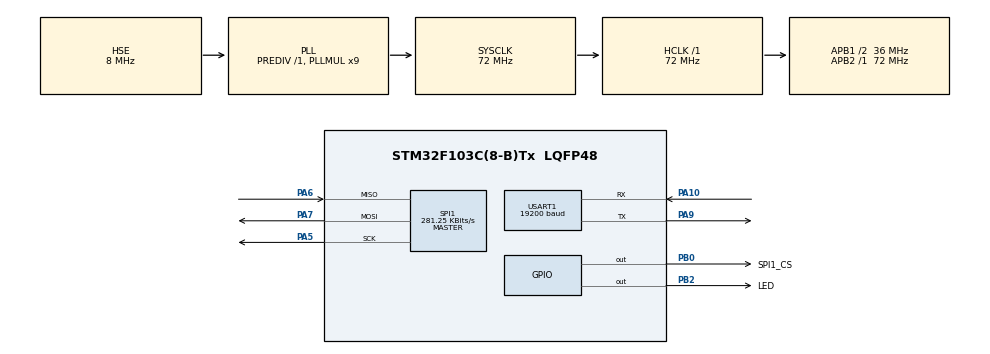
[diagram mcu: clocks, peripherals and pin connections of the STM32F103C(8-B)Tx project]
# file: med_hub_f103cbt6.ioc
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Mcu.Family=STM32F1
Mcu.Name=STM32F103C(8-B)Tx
Mcu.Package=LQFP48
NVIC.PriorityGroup=NVIC_PRIORITYGROUP_4
NVIC.SPI1_IRQn=true\:0\:0\:false\:false\:true\:true\:true\:true
NVIC.USART1_IRQn=true\:0\:0\:false\:false\:true\:true\:true\:true
PA10.Mode=Asynchronous
PA10.Signal=USART1_RX
PA13.Mode=Serial_Wire
PA13.Signal=SYS_JTMS-SWDIO
PA14.Mode=Serial_Wire
PA14.Signal=SYS_JTCK-SWCLK
PA5.Mode=Full_Duplex_Master
PA5.Signal=SPI1_SCK
PA6.Mode=Full_Duplex_Master
PA6.Signal=SPI1_MISO
PA7.Mode=Full_Duplex_Master
PA7.Signal=SPI1_MOSI
PA9.Mode=Asynchronous
PA9.Signal=USART1_TX
PB0.GPIO_Label=SPI1_CS
PB0.GPIO_Speed=GPIO_SPEED_FREQ_HIGH
PB0.PinState=GPIO_PIN_SET
PB0.Signal=GPIO_Output
PB2.GPIO_Label=LED
PB2.Signal=GPIO_Output
PD0-OSC_IN.Mode=HSE-External-Oscillator
PD0-OSC_IN.Signal=RCC_OSC_IN
PD1-OSC_OUT.Mode=HSE-External-Oscillator
PD1-OSC_OUT.Signal=RCC_OSC_OUT
ProjectManager.HeapSize=0x200
ProjectManager.StackSize=0x400
ProjectManager.TargetToolchain=STM32CubeIDE
RCC.AHBFreq_Value=72000000
RCC.APB1CLKDivider=RCC_HCLK_DIV2
RCC.APB1Freq_Value=36000000
RCC.APB1TimFreq_Value=72000000
RCC.APB2Freq_Value=72000000
RCC.APB2TimFreq_Value=72000000
RCC.HCLKFreq_Value=72000000
RCC.PLLMUL=RCC_PLL_MUL9
RCC.PLLSourceVirtual=RCC_PLLSOURCE_HSE
RCC.SYSCLKFreq_VALUE=72000000
RCC.SYSCLKSource=RCC_SYSCLKSOURCE_PLLCLK
RCC.USBFreq_Value=72000000
SPI1.BaudRatePrescaler=SPI_BAUDRATEPRESCALER_256
SPI1.CalculateBaudRate=281.25 KBits/s
SPI1.Direction=SPI_DIRECTION_2LINES
SPI1.Mode=SPI_MODE_MASTER
SPI1.VirtualType=VM_MASTER
USART1.BaudRate=19200
USART1.Parity=PARITY_NONE
USART1.VirtualMode=VM_ASYNC
board=custom

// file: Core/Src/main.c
/* USER CODE BEGIN Header */
/**
  ******************************************************************************
  * @file           : main.c
  * @brief          : Main program body
  ******************************************************************************
  * @attention
  *
  * Copyright (c) 2026 STMicroelectronics.
  * All rights reserved.
  *
  * This software is licensed under terms that can be found in the LICENSE file
  * in the root directory of this software component.
  * If no LICENSE file comes with this software, it is provided AS-IS.
  *
  ******************************************************************************
  */
/* USER CODE END Header */
#include "main.h"

/* USER CODE BEGIN Includes */
#include "stdbool.h"
#include "string.h"
/* USER CODE END Includes */

/* USER CODE BEGIN PD */
#define cs_set() HAL_GPIO_WritePin(GPIOB,GPIO_PIN_0,GPIO_PIN_RESET)
#define cs_reset() HAL_GPIO_WritePin(GPIOB,GPIO_PIN_0,GPIO_PIN_SET)
#define FRAME_LEN 264
/* USER CODE END PD */

SPI_HandleTypeDef hspi1;

UART_HandleTypeDef huart1;

/* USER CODE BEGIN PV */
bool uart1_rx_complete, spi_transaction_complete = false;
uint8_t uart1_rx_buf[1], data = {0};
uint8_t request_buf[264] = {0x1};
//uint8_t request[2] = {0xC,0xD};
//uint8_t response[2] = {0};
uint8_t response_buf[264] = {};
/* USER CODE END PV */

void SystemClock_Config(void);
static void MX_GPIO_Init(void);
static void MX_SPI1_Init(void);
static void MX_USART1_UART_Init(void);
/* USER CODE BEGIN PFP */
void SPI_SendReceive();
void fillRequestFrame(uint8_t command_code);
uint32_t calculateCRC32(uint8_t* arg,uint16_t length);
/* USER CODE END PFP */

/* USER CODE BEGIN 0 */

const uint32_t crc32_table[256] = {
    0x00000000, 0x77073096, 0xEE0E612C, 0x990951BA, 0x076DC419, 0x706AF48F,
    0xE963A535, 0x9E6495A3, 0x0EDB8832, 0x79DCB8A4, 0xE0D5E91E, 0x97D2D988,
    0x09B64C2B, 0x7EB17CBD, 0xE7B82D07, 0x90BF1D91, 0x1DB71064, 0x6AB020F2,
    0xF3B97148, 0x84BE41DE, 0x1ADAD47D, 0x6DDDE4EB, 0xF4D4B551, 0x83D385C7,
    0x136C9856, 0x646BA8C0, 0xFD62F97A, 0x8A65C9EC, 0x14015C4F, 0x63066CD9,
    0xFA0F3D63, 0x8D080DF5, 0x3B6E20C8, 0x4C69105E, 0xD56041E4, 0xA2677172,
    0x3C03E4D1, 0x4B04D447, 0xD20D85FD, 0xA50AB56B, 0x35B5A8FA, 0x42B2986C,
    0xDBBBC9D6, 0xACBCF940, 0x32D86CE3, 0x45DF5C75, 0xDCD60DCF, 0xABD13D59,
    0x26D930AC, 0x51DE003A, 0xC8D75180, 0xBFD06116, 0x21B4F4B5, 0x56B3C423,
    0xCFBA9599, 0xB8BDA50F, 0x2802B89E, 0x5F058808, 0xC60CD9B2, 0xB10BE924,
    0x2F6F7C87, 0x58684C11, 0xC1611DAB, 0xB6662D3D, 0x76DC4190, 0x01DB7106,
    0x98D220BC, 0xEFD5102A, 0x71B18589, 0x06B6B51F, 0x9FBFE4A5, 0xE8B8D433,
    0x7807C9A2, 0x0F00F934, 0x9609A88E, 0xE10E9818, 0x7F6A0DBB, 0x086D3D2D,
    0x91646C97, 0xE6635C01, 0x6B6B51F4, 0x1C6C6162, 0x856530D8, 0xF262004E,
    0x6C0695ED, 0x1B01A57B, 0x8208F4C1, 0xF50FC457, 0x65B0D9C6, 0x12B7E950,
    0x8BBEB8EA, 0xFCB9887C, 0x62DD1DDF, 0x15DA2D49, 0x8CD37CF3, 0xFBD44C65,
    0x4DB26158, 0x3AB551CE, 0xA3BC0074, 0xD4BB30E2, 0x4ADFA541, 0x3DD895D7,
    0xA4D1C46D, 0xD3D6F4FB, 0x4369E96A, 0x346ED9FC, 0xAD678846, 0xDA60B8D0,
    0x44042D73, 0x33031DE5, 0xAA0A4C5F, 0xDD0D7CC9, 0x5005713C, 0x270241AA,
    0xBE0B1010, 0xC90C2086, 0x5768B525, 0x206F85B3, 0xB966D409, 0xCE61E49F,
    0x5EDEF90E, 0x29D9C998, 0xB0D09822, 0xC7D7A8B4, 0x59B33D17, 0x2EB40D81,
    0xB7BD5C3B, 0xC0BA6CAD, 0xEDB88320, 0x9ABFB3B6, 0x03B6E20C, 0x74B1D29A,
    0xEAD54739, 0x9DD277AF, 0x04DB2615, 0x73DC1683, 0xE3630B12, 0x94643B84,
    0x0D6D6A3E, 0x7A6A5AA8, 0xE40ECF0B, 0x9309FF9D, 0x0A00AE27, 0x7D079EB1,
    0xF00F9344, 0x8708A3D2, 0x1E01F268, 0x6906C2FE, 0xF762575D, 0x806567CB,
    0x196C3671, 0x6E6B06E7, 0xFED41B76, 0x89D32BE0, 0x10DA7A5A, 0x67DD4ACC,
    0xF9B9DF6F, 0x8EBEEFF9, 0x17B7BE43, 0x60B08ED5, 0xD6D6A3E8, 0xA1D1937E,
    0x38D8C2C4, 0x4FDFF252, 0xD1BB67F1, 0xA6BC5767, 0x3FB506DD, 0x48B2364B,
    0xD80D2BDA, 0xAF0A1B4C, 0x36034AF6, 0x41047A60, 0xDF60EFC3, 0xA867DF55,
    0x316E8EEF, 0x4669BE79, 0xCB61B38C, 0xBC66831A, 0x256FD2A0, 0x5268E236,
    0xCC0C7795, 0xBB0B4703, 0x220216B9, 0x5505262F, 0xC5BA3BBE, 0xB2BD0B28,
    0x2BB45A92, 0x5CB36A04, 0xC2D7FFA7, 0xB5D0CF31, 0x2CD99E8B, 0x5BDEAE1D,
    0x9B64C2B0, 0xEC63F226, 0x756AA39C, 0x026D930A, 0x9C0906A9, 0xEB0E363F,
    0x72076785, 0x05005713, 0x95BF4A82, 0xE2B87A14, 0x7BB12BAE, 0x0CB61B38,
    0x92D28E9B, 0xE5D5BE0D, 0x7CDCEFB7, 0x0BDBDF21, 0x86D3D2D4, 0xF1D4E242,
    0x68DDB3F8, 0x1FDA836E, 0x81BE16CD, 0xF6B9265B, 0x6FB077E1, 0x18B74777,
    0x88085AE6, 0xFF0F6A70, 0x66063BCA, 0x11010B5C, 0x8F659EFF, 0xF862AE69,
    0x616BFFD3, 0x166CCF45, 0xA00AE278, 0xD70DD2EE, 0x4E048354, 0x3903B3C2,
    0xA7672661, 0xD06016F7, 0x4969474D, 0x3E6E77DB, 0xAED16A4A, 0xD9D65ADC,
    0x40DF0B66, 0x37D83BF0, 0xA9BCAE53, 0xDEBB9EC5, 0x47B2CF7F, 0x30B5FFE9,
    0xBDBDF21C, 0xCABAC28A, 0x53B39330, 0x24B4A3A6, 0xBAD03605, 0xCDD70693,
    0x54DE5729, 0x23D967BF, 0xB3667A2E, 0xC4614AB8, 0x5D681B02, 0x2A6F2B94,
    0xB40BBE37, 0xC30C8EA1, 0x5A05DF1B, 0x2D02EF8D
};

uint32_t calculateCRC32(uint8_t* arg,uint16_t length) {
  uint32_t crc_f = 0xFFFFFFFF; 	// Начальное значение CRC
    for (int i=0;i<length;i++)
    {crc_f=crc32_table[(crc_f ^ arg[i]) & 0xFF] ^ (crc_f >> 8);}
  return ~crc_f;
}

void fillRequestFrame(uint8_t command_code) {
	// формирование ответа
		memset(request_buf,0,FRAME_LEN);
		request_buf[0] = 0xFA;
		request_buf[1] = 0xAF;
		request_buf[2] = command_code;

		request_buf[258] = 0xFF;
		request_buf[259] = 0x0D;

		uint32_t crc = calculateCRC32(request_buf,FRAME_LEN-4);
		request_buf[260] = (crc >> 24) & 0xFF;
		request_buf[261] = (crc >> 16) & 0xFF;
		request_buf[262] = (crc >> 8) & 0xFF;
		request_buf[263] = crc & 0xFF;
}

void parserPC() {
	switch(uart1_rx_buf[0]) {
	case 0xA1:
		fillRequestFrame(0xA1);
		SPI_SendReceive();
		break;
	case 0xA2:
		fillRequestFrame(0xA2);
		SPI_SendReceive();
		break;
	case 0xA3:
		fillRequestFrame(0xA3);
		SPI_SendReceive();
		break;
	case 0xA4:
		fillRequestFrame(0xA4);
		SPI_SendReceive();
		break;
	case 0xA7:
		fillRequestFrame(0xA7);
		SPI_SendReceive();
		break;
	case 0xFF:
		fillRequestFrame(0xFF);
		SPI_SendReceive();
		break;
	}
}

void SPI_SendReceive()
{
    // Очистка RX буфера
    memset(response_buf, 0, 264);
    //memset(request_buf, 0, 10);
    cs_set();

    //HAL_SPI_TransmitReceive(&hspi1, request_buf, response_buf,264,2000);
    //cs_reset();

    //HAL_SPI_TransmitReceive(&hspi2, request_buf, response_buf,10,500);
    HAL_SPI_TransmitReceive_IT(&hspi1, request_buf, response_buf, 264);

}

void HAL_SPI_TxRxCpltCallback(SPI_HandleTypeDef *hspi)
{
    if (hspi->Instance == SPI1)
    {
        //HAL_SPI_TransmitReceive_IT(&hspi1, request_buf, response_buf, FRAME_LEN);
    	spi_transaction_complete = true;
        cs_reset();
    }
}

/* USER CODE END 0 */

int main(void)
{

  /* MCU Configuration--------------------------------------------------------*/

  /* Reset of all peripherals, Initializes the Flash interface and the Systick. */
  HAL_Init();

  /* Configure the system clock */
  SystemClock_Config();

  /* Initialize all configured peripherals */
  MX_GPIO_Init();
  MX_SPI1_Init();
  MX_USART1_UART_Init();
  /* USER CODE BEGIN 2 */

  HAL_UART_Receive_IT(&huart1, uart1_rx_buf, 1);

  /* USER CODE END 2 */

  /* Infinite loop */
  /* USER CODE BEGIN WHILE */
  while (1)
  {
	  if (uart1_rx_complete) {
		  uart1_rx_complete = 0;
		  parserPC();
		  data = uart1_rx_buf[0];
		  HAL_UART_Receive_IT(&huart1, uart1_rx_buf, 1);
		  HAL_GPIO_TogglePin(GPIOB,GPIO_PIN_2);
	  }

	  if (spi_transaction_complete) {
		  HAL_UART_Transmit(&huart1, response_buf, 264,1000);
		  spi_transaction_complete = false;
	  }

    /* USER CODE END WHILE */

  }
}

void SystemClock_Config(void)
{
  RCC_OscInitTypeDef RCC_OscInitStruct = {0};
  RCC_ClkInitTypeDef RCC_ClkInitStruct = {0};

  /** Initializes the RCC Oscillators according to the specified parameters
  * in the RCC_OscInitTypeDef structure.
  */
  RCC_OscInitStruct.OscillatorType = RCC_OSCILLATORTYPE_HSE;
  RCC_OscInitStruct.HSEState = RCC_HSE_ON;
  RCC_OscInitStruct.HSEPredivValue = RCC_HSE_PREDIV_DIV1;
  RCC_OscInitStruct.HSIState = RCC_HSI_ON;
  RCC_OscInitStruct.PLL.PLLState = RCC_PLL_ON;
  RCC_OscInitStruct.PLL.PLLSource = RCC_PLLSOURCE_HSE;
  RCC_OscInitStruct.PLL.PLLMUL = RCC_PLL_MUL9;
  if (HAL_RCC_OscConfig(&RCC_OscInitStruct) != HAL_OK)
  {
    Error_Handler();
  }

  /** Initializes the CPU, AHB and APB buses clocks
  */
  RCC_ClkInitStruct.ClockType = RCC_CLOCKTYPE_HCLK|RCC_CLOCKTYPE_SYSCLK
                              |RCC_CLOCKTYPE_PCLK1|RCC_CLOCKTYPE_PCLK2;
  RCC_ClkInitStruct.SYSCLKSource = RCC_SYSCLKSOURCE_PLLCLK;
  RCC_ClkInitStruct.AHBCLKDivider = RCC_SYSCLK_DIV1;
  RCC_ClkInitStruct.APB1CLKDivider = RCC_HCLK_DIV2;
  RCC_ClkInitStruct.APB2CLKDivider = RCC_HCLK_DIV1;

  if (HAL_RCC_ClockConfig(&RCC_ClkInitStruct, FLASH_LATENCY_2) != HAL_OK)
  {
    Error_Handler();
  }
}

static void MX_SPI1_Init(void)
{

  /* SPI1 parameter configuration*/
  hspi1.Instance = SPI1;
  hspi1.Init.Mode = SPI_MODE_MASTER;
  hspi1.Init.Direction = SPI_DIRECTION_2LINES;
  hspi1.Init.DataSize = SPI_DATASIZE_8BIT;
  hspi1.Init.CLKPolarity = SPI_POLARITY_LOW;
  hspi1.Init.CLKPhase = SPI_PHASE_1EDGE;
  hspi1.Init.NSS = SPI_NSS_SOFT;
  hspi1.Init.BaudRatePrescaler = SPI_BAUDRATEPRESCALER_256;
  hspi1.Init.FirstBit = SPI_FIRSTBIT_MSB;
  hspi1.Init.TIMode = SPI_TIMODE_DISABLE;
  hspi1.Init.CRCCalculation = SPI_CRCCALCULATION_DISABLE;
  hspi1.Init.CRCPolynomial = 10;
  if (HAL_SPI_Init(&hspi1) != HAL_OK)
  {
    Error_Handler();
  }

}

static void MX_USART1_UART_Init(void)
{

  huart1.Instance = USART1;
  huart1.Init.BaudRate = 19200;
  huart1.Init.WordLength = UART_WORDLENGTH_8B;
  huart1.Init.StopBits = UART_STOPBITS_1;
  huart1.Init.Parity = UART_PARITY_NONE;
  huart1.Init.Mode = UART_MODE_TX_RX;
  huart1.Init.HwFlowCtl = UART_HWCONTROL_NONE;
  huart1.Init.OverSampling = UART_OVERSAMPLING_16;
  if (HAL_UART_Init(&huart1) != HAL_OK)
  {
    Error_Handler();
  }

}

static void MX_GPIO_Init(void)
{
  GPIO_InitTypeDef GPIO_InitStruct = {0};

  /* GPIO Ports Clock Enable */
  __HAL_RCC_GPIOD_CLK_ENABLE();
  __HAL_RCC_GPIOA_CLK_ENABLE();
  __HAL_RCC_GPIOB_CLK_ENABLE();

  /*Configure GPIO pin Output Level */
  HAL_GPIO_WritePin(SPI1_CS_GPIO_Port, SPI1_CS_Pin, GPIO_PIN_SET);

  /*Configure GPIO pin Output Level */
  HAL_GPIO_WritePin(LED_GPIO_Port, LED_Pin, GPIO_PIN_RESET);

  /*Configure GPIO pin : SPI1_CS_Pin */
  GPIO_InitStruct.Pin = SPI1_CS_Pin;
  GPIO_InitStruct.Mode = GPIO_MODE_OUTPUT_PP;
  GPIO_InitStruct.Pull = GPIO_NOPULL;
  GPIO_InitStruct.Speed = GPIO_SPEED_FREQ_HIGH;
  HAL_GPIO_Init(SPI1_CS_GPIO_Port, &GPIO_InitStruct);

  /*Configure GPIO pin : LED_Pin */
  GPIO_InitStruct.Pin = LED_Pin;
  GPIO_InitStruct.Mode = GPIO_MODE_OUTPUT_PP;
  GPIO_InitStruct.Pull = GPIO_NOPULL;
  GPIO_InitStruct.Speed = GPIO_SPEED_FREQ_LOW;
  HAL_GPIO_Init(LED_GPIO_Port, &GPIO_InitStruct);

}

void Error_Handler(void)
{
  __disable_irq();
  while (1)
  {
  }
}
